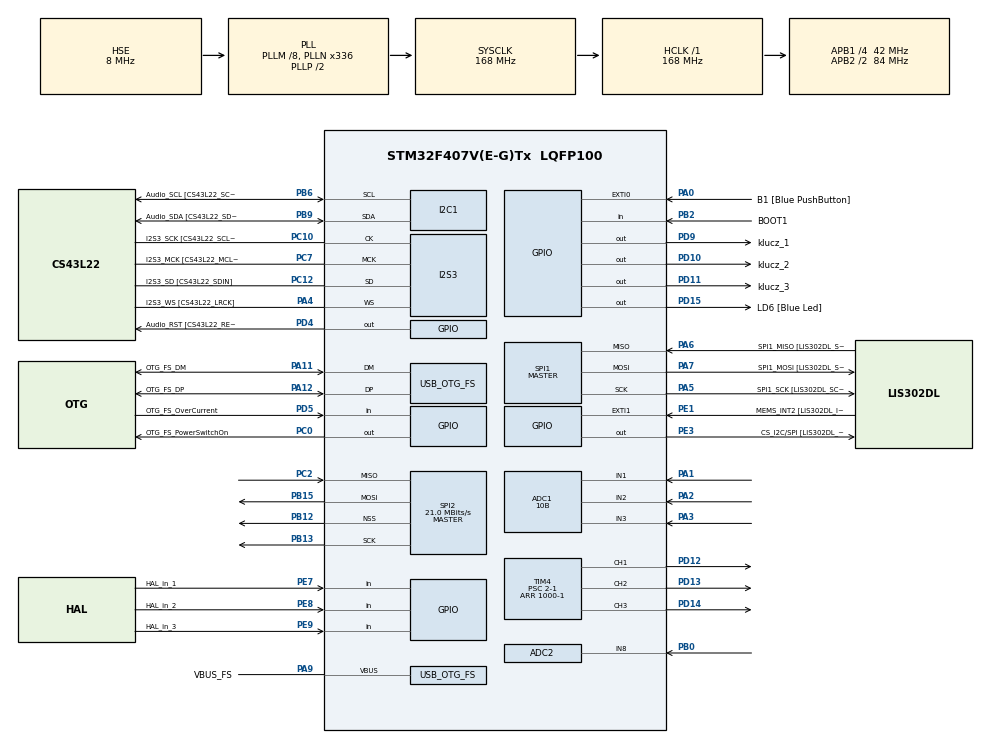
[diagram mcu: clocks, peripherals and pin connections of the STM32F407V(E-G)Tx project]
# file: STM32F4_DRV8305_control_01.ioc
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ADC1.Channel-0\#ChannelRegularConversion=ADC_CHANNEL_1
ADC1.Channel-1\#ChannelRegularConversion=ADC_CHANNEL_2
ADC1.Channel-2\#ChannelRegularConversion=ADC_CHANNEL_3
ADC1.ContinuousConvMode=ENABLE
ADC1.DMAContinuousRequests=DISABLE
ADC1.DataAlign=ADC_DATAALIGN_RIGHT
ADC1.DiscontinuousConvMode=DISABLE
ADC1.EOCSelection=ADC_EOC_SINGLE_CONV
ADC1.EnableAnalogWatchDog=false
ADC1.ExternalTrigConv=ADC_SOFTWARE_START
ADC1.ExternalTrigConvEdge=ADC_EXTERNALTRIGCONVEDGE_NONE
ADC1.InjNumberOfConversion=0
ADC1.NbrOfConversion=3
ADC1.NbrOfConversionFlag=1
ADC1.Rank-0\#ChannelRegularConversion=1
ADC1.Rank-1\#ChannelRegularConversion=2
ADC1.Rank-2\#ChannelRegularConversion=3
ADC1.Resolution=ADC_RESOLUTION_10B
ADC1.SamplingTime-0\#ChannelRegularConversion=ADC_SAMPLETIME_480CYCLES
ADC1.SamplingTime-1\#ChannelRegularConversion=ADC_SAMPLETIME_480CYCLES
ADC1.SamplingTime-2\#ChannelRegularConversion=ADC_SAMPLETIME_480CYCLES
ADC1.ScanConvMode=ENABLE
ADC1.master=1
ADC2.Channel-4\#ChannelRegularConversion=ADC_CHANNEL_8
ADC2.ClockPrescaler=ADC_CLOCK_SYNC_PCLK_DIV4
ADC2.NbrOfConversionFlag=1
ADC2.Rank-4\#ChannelRegularConversion=1
ADC2.Resolution=ADC_RESOLUTION_10B
ADC2.SamplingTime-4\#ChannelRegularConversion=ADC_SAMPLETIME_3CYCLES
I2S3.AudioFreq-Half_Duplex_Master=I2S_AUDIOFREQ_96K
I2S3.ErrorAudioFreq=-2.34 %
I2S3.ErrorAudioFreq-Half_Duplex_Master=0.8 %
I2S3.FullDuplexMode=I2S_FULLDUPLEXMODE_DISABLE
I2S3.Instance=SPI$Index
I2S3.RealAudioFreq=93.75 KHz
I2S3.RealAudioFreq-Half_Duplex_Master=96.774 KHz
I2S3.VirtualMode=I2S_MODE_MASTER
Mcu.Family=STM32F4
Mcu.Name=STM32F407V(E-G)Tx
Mcu.Package=LQFP100
NVIC.OTG_FS_IRQn=true\:0\:0\:false\:false\:true\:true
NVIC.PriorityGroup=NVIC_PRIORITYGROUP_0
NVIC.TIM1_UP_TIM10_IRQn=true\:0\:0\:false\:false\:true\:true
NVIC.TIM7_IRQn=true\:0\:0\:false\:false\:true\:true
PA0-WKUP.GPIO_Label=B1 [Blue PushButton]
PA0-WKUP.GPIO_ModeDefaultEXTI=GPIO_MODE_EVT_RISING
PA0-WKUP.GPIO_PuPd=GPIO_NOPULL
PA0-WKUP.Signal=GPXTI0
PA1.Signal=ADCx_IN1
PA10.GPIO_Label=OTG_FS_ID
PA10.GPIO_Mode=GPIO_MODE_AF_PP
PA10.GPIO_PuPd=GPIO_NOPULL
PA10.GPIO_Speed=GPIO_SPEED_FREQ_LOW
PA10.Signal=USB_OTG_FS_ID
PA11.GPIO_Label=OTG_FS_DM
PA11.GPIO_Mode=GPIO_MODE_AF_PP
PA11.GPIO_PuPd=GPIO_NOPULL
PA11.GPIO_Speed=GPIO_SPEED_FREQ_LOW
PA11.Mode=Host_Only
PA11.Signal=USB_OTG_FS_DM
PA12.GPIO_Label=OTG_FS_DP
PA12.GPIO_Mode=GPIO_MODE_AF_PP
PA12.GPIO_PuPd=GPIO_NOPULL
PA12.GPIO_Speed=GPIO_SPEED_FREQ_LOW
PA12.Mode=Host_Only
PA12.Signal=USB_OTG_FS_DP
PA13.GPIO_Label=SWDIO
PA13.Mode=Serial_Wire
PA13.Signal=SYS_JTMS-SWDIO
PA14.GPIO_Label=SWCLK
PA14.Mode=Serial_Wire
PA14.Signal=SYS_JTCK-SWCLK
PA2.Signal=ADCx_IN2
PA3.Signal=ADCx_IN3
PA4.GPIO_Label=I2S3_WS [CS43L22_LRCK]
PA4.GPIO_Mode=GPIO_MODE_AF_PP
PA4.GPIO_PuPd=GPIO_NOPULL
PA4.GPIO_Speed=GPIO_SPEED_FREQ_LOW
PA4.Mode=Half_Duplex_Master
PA4.Signal=I2S3_WS
PA5.GPIO_Label=SPI1_SCK [LIS302DL_SCL/SPC]
PA5.GPIO_Mode=GPIO_MODE_AF_PP
PA5.GPIO_PuPd=GPIO_NOPULL
PA5.GPIO_Speed=GPIO_SPEED_FREQ_LOW
PA5.Mode=Full_Duplex_Master
PA5.Signal=SPI1_SCK
PA6.GPIO_Label=SPI1_MISO [LIS302DL_SDO]
PA6.GPIO_Mode=GPIO_MODE_AF_PP
PA6.GPIO_PuPd=GPIO_NOPULL
PA6.GPIO_Speed=GPIO_SPEED_FREQ_LOW
PA6.Mode=Full_Duplex_Master
PA6.Signal=SPI1_MISO
PA7.GPIO_Label=SPI1_MOSI [LIS302DL_SDA/SDI/SDO]
PA7.GPIO_Mode=GPIO_MODE_AF_PP
PA7.GPIO_PuPd=GPIO_NOPULL
PA7.GPIO_Speed=GPIO_SPEED_FREQ_LOW
PA7.Mode=Full_Duplex_Master
PA7.Signal=SPI1_MOSI
PA9.GPIO_Label=VBUS_FS
PA9.GPIO_Mode=GPIO_MODE_INPUT
PA9.GPIO_PuPd=GPIO_NOPULL
PA9.Mode=Activate_VBUS
PA9.Signal=USB_OTG_FS_VBUS
PB0.Signal=ADCx_IN8
PB10.GPIO_Label=CLK_IN [MP45DT02_CLK]
PB10.GPIO_Mode=GPIO_MODE_AF_PP
PB10.GPIO_PuPd=GPIO_NOPULL
PB10.GPIO_Speed=GPIO_SPEED_FREQ_LOW
PB10.Signal=I2S2_CK
PB12.Mode=NSS_Signal_Hard_Output
PB12.Signal=SPI2_NSS
PB13.Mode=Full_Duplex_Master
PB13.Signal=SPI2_SCK
PB15.Mode=Full_Duplex_Master
PB15.Signal=SPI2_MOSI
PB2.GPIO_Label=BOOT1
PB2.GPIO_Mode=GPIO_MODE_INPUT
PB2.GPIO_PuPd=GPIO_NOPULL
PB2.Signal=GPIO_Input
PB3.GPIO_Label=SWO
PB3.Signal=SYS_JTDO-SWO
PB6.GPIO_Label=Audio_SCL [CS43L22_SCL]
PB6.GPIO_Mode=GPIO_MODE_AF_OD
PB6.GPIO_PuPd=GPIO_NOPULL
PB6.GPIO_Speed=GPIO_SPEED_FREQ_LOW
PB6.Mode=I2C
PB6.Signal=I2C1_SCL
PB9.GPIO_Label=Audio_SDA [CS43L22_SDA]
PB9.GPIO_Mode=GPIO_MODE_AF_OD
PB9.GPIO_PuPd=GPIO_NOPULL
PB9.GPIO_Speed=GPIO_SPEED_FREQ_LOW
PB9.Mode=I2C
PB9.Signal=I2C1_SDA
PC0.GPIO_Label=OTG_FS_PowerSwitchOn
PC0.GPIO_PuPd=GPIO_NOPULL
PC0.GPIO_Speed=GPIO_SPEED_FREQ_LOW
PC0.PinState=GPIO_PIN_SET
PC0.Signal=GPIO_Output
PC10.GPIO_Label=I2S3_SCK [CS43L22_SCLK]
PC10.GPIO_Mode=GPIO_MODE_AF_PP
PC10.GPIO_PuPd=GPIO_NOPULL
PC10.GPIO_Speed=GPIO_SPEED_FREQ_LOW
PC10.Mode=Half_Duplex_Master
PC10.Signal=I2S3_CK
PC12.GPIO_Label=I2S3_SD [CS43L22_SDIN]
PC12.GPIO_Mode=GPIO_MODE_AF_PP
PC12.GPIO_PuPd=GPIO_NOPULL
PC12.GPIO_Speed=GPIO_SPEED_FREQ_LOW
PC12.Mode=Half_Duplex_Master
PC12.Signal=I2S3_SD
PC14-OSC32_IN.GPIO_Label=PC14-OSC32_IN
PC14-OSC32_IN.Mode=LSE-External-Oscillator
PC14-OSC32_IN.Signal=RCC_OSC32_IN
PC15-OSC32_OUT.GPIO_Label=PC15-OSC32_OUT
PC15-OSC32_OUT.Mode=LSE-External-Oscillator
PC15-OSC32_OUT.Signal=RCC_OSC32_OUT
PC2.Mode=Full_Duplex_Master
PC2.Signal=SPI2_MISO
PC3.GPIO_Label=PDM_OUT [MP45DT02_DOUT]
PC3.GPIO_Mode=GPIO_MODE_AF_PP
PC3.GPIO_PuPd=GPIO_NOPULL
PC3.GPIO_Speed=GPIO_SPEED_FREQ_LOW
PC3.Signal=I2S2_SD
PC7.GPIO_Label=I2S3_MCK [CS43L22_MCLK]
PC7.GPIO_Mode=GPIO_MODE_AF_PP
PC7.GPIO_PuPd=GPIO_NOPULL
PC7.GPIO_Speed=GPIO_SPEED_FREQ_LOW
PC7.Mode=Master_Clock_Activated
PC7.Signal=I2S3_MCK
PD10.GPIO_Label=klucz_2
PD10.Signal=GPIO_Output
PD11.GPIO_Label=klucz_3
PD11.Signal=GPIO_Output
PD12.Signal=S_TIM4_CH1
PD13.Signal=S_TIM4_CH2
PD14.Signal=S_TIM4_CH3
PD15.GPIO_Label=LD6 [Blue Led]
PD15.GPIO_PuPd=GPIO_NOPULL
PD15.GPIO_Speed=GPIO_SPEED_FREQ_LOW
PD15.Signal=GPIO_Output
PD4.GPIO_Label=Audio_RST [CS43L22_RESET]
PD4.GPIO_PuPd=GPIO_NOPULL
PD4.GPIO_Speed=GPIO_SPEED_FREQ_LOW
PD4.Signal=GPIO_Output
PD5.GPIO_Label=OTG_FS_OverCurrent
PD5.GPIO_Mode=GPIO_MODE_INPUT
PD5.GPIO_PuPd=GPIO_NOPULL
PD5.Signal=GPIO_Input
PD9.GPIO_Label=klucz_1
PD9.Signal=GPIO_Output
PE1.GPIO_Label=MEMS_INT2 [LIS302DL_INT2]
PE1.GPIO_ModeDefaultEXTI=GPIO_MODE_EVT_RISING
PE1.GPIO_PuPd=GPIO_NOPULL
PE1.Signal=GPXTI1
PE3.GPIO_Label=CS_I2C/SPI [LIS302DL_CS_I2C/SPI]
PE3.GPIO_PuPd=GPIO_NOPULL
PE3.GPIO_Speed=GPIO_SPEED_FREQ_LOW
PE3.Signal=GPIO_Output
PE7.GPIO_Label=HAL_in_1
PE7.GPIO_PuPd=GPIO_PULLUP
PE7.Signal=GPIO_Input
PE8.GPIO_Label=HAL_in_2
PE8.GPIO_PuPd=GPIO_PULLUP
PE8.Signal=GPIO_Input
PE9.GPIO_Label=HAL_in_3
PE9.GPIO_PuPd=GPIO_PULLUP
PE9.Signal=GPIO_Input
PH0-OSC_IN.GPIO_Label=PH0-OSC_IN
PH0-OSC_IN.Mode=HSE-External-Oscillator
PH0-OSC_IN.Signal=RCC_OSC_IN
PH1-OSC_OUT.GPIO_Label=PH1-OSC_OUT
PH1-OSC_OUT.Mode=HSE-External-Oscillator
PH1-OSC_OUT.Signal=RCC_OSC_OUT
ProjectManager.HeapSize=0x200
ProjectManager.StackSize=0x400
ProjectManager.TargetToolchain=TrueSTUDIO
RCC.48MHZClocksFreq_Value=48000000
RCC.AHBFreq_Value=168000000
RCC.APB1CLKDivider=RCC_HCLK_DIV4
RCC.APB1Freq_Value=42000000
RCC.APB1TimFreq_Value=84000000
RCC.APB2CLKDivider=RCC_HCLK_DIV2
RCC.APB2Freq_Value=84000000
RCC.APB2TimFreq_Value=168000000
RCC.CortexFreq_Value=168000000
RCC.HCLKFreq_Value=168000000
RCC.HSE_VALUE=8000000
RCC.HSI_VALUE=16000000
RCC.PLLM=8
RCC.PLLN=336
RCC.PLLQ=7
RCC.SYSCLKFreq_VALUE=168000000
RCC.SYSCLKSource=RCC_SYSCLKSOURCE_PLLCLK
RCC.VCOOutputFreq_Value=336000000
SH.ADCx_IN1.0=ADC1_IN1,IN1
SH.ADCx_IN1.1=ADC2_IN1
SH.ADCx_IN2.0=ADC1_IN2,IN2
SH.ADCx_IN3.0=ADC1_IN3,IN3
SH.ADCx_IN8.0=ADC2_IN8,IN8
SH.S_TIM4_CH1.0=TIM4_CH1,PWM Generation1 CH1
SH.S_TIM4_CH2.0=TIM4_CH2,PWM Generation2 CH2
SH.S_TIM4_CH3.0=TIM4_CH3,PWM Generation3 CH3
SPI1.BaudRatePrescaler-Full_Duplex_Master=SPI_BAUDRATEPRESCALER_2
SPI1.CalculateBaudRate-Full_Duplex_Master=42.0 MBits/s
SPI1.Direction=SPI_DIRECTION_2LINES
SPI1.Mode=SPI_MODE_MASTER
SPI1.Mode-Full_Duplex_Master=SPI_MODE_MASTER
SPI1.VirtualType=VM_MASTER
SPI2.BaudRatePrescaler=SPI_BAUDRATEPRESCALER_2
SPI2.CalculateBaudRate=21.0 MBits/s
SPI2.DataSize=SPI_DATASIZE_16BIT
SPI2.Direction=SPI_DIRECTION_2LINES
SPI2.Mode=SPI_MODE_MASTER
SPI2.VirtualNSS=VM_NSSHARD
SPI2.VirtualType=VM_MASTER
TIM10.Period=1000-1
TIM10.Prescaler=2-1
TIM4.Channel-PWM\ Generation1\ CH1=TIM_CHANNEL_1
TIM4.Channel-PWM\ Generation2\ CH2=TIM_CHANNEL_2
TIM4.Channel-PWM\ Generation3\ CH3=TIM_CHANNEL_3
TIM4.CounterMode=TIM_COUNTERMODE_UP
TIM4.Period=1000-1
TIM4.Prescaler=2-1
TIM7.Period=5000-1
TIM7.Prescaler=8400-1
USB_HOST.BSP.number=1
USB_HOST.USBH_HandleTypeDef-CDC_FS=hUsbHostFS
USB_HOST.VirtualModeFS=Cdc
USB_HOST0.BSP.STBoard=false
USB_HOST0.BSP.api=Unknown
USB_HOST0.BSP.i2caddr=0
USB_HOST0.BSP.i2creg=0
USB_HOST0.BSP.instance=PC0
USB_HOST0.BSP.ip=GPIO
USB_HOST0.BSP.mode=Output
USB_HOST0.BSP.name=Drive_VBUS_FS
USB_HOST0.BSP.solution=PC0
USB_OTG_FS.VirtualMode=Host_Only
USB_OTG_FS.phy_itface=HCD_PHY_EMBEDDED
VP_TIM10_VS_ClockSourceINT.Mode=Enable_Timer
VP_TIM7_VS_ClockSourceINT.Mode=Enable_Timer
VP_USB_HOST_VS_USB_HOST_CDC_FS.Mode=CDC_FS
board=STM32F4DISCOVERY

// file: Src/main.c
/**
  ******************************************************************************
  * @file           : main.c
  * @brief          : Main program body
  ******************************************************************************
  * This notice applies to any and all portions of this file
  * that are not between comment pairs USER CODE BEGIN and
  * USER CODE END. Other portions of this file, whether
  * inserted by the user or by software development tools
  * are owned by their respective copyright owners.
  *
  * Copyright (c) 2018 STMicroelectronics International N.V.
  * All rights reserved.
  *
  * Redistribution and use in source and binary forms, with or without
  * modification, are permitted, provided that the following conditions are met:
  *
  * 1. Redistribution of source code must retain the above copyright notice,
  *    this list of conditions and the following disclaimer.
  * 2. Redistributions in binary form must reproduce the above copyright notice,
  *    this list of conditions and the following disclaimer in the documentation
  *    and/or other materials provided with the distribution.
  * 3. Neither the name of STMicroelectronics nor the names of other
  *    contributors to this software may be used to endorse or promote products
  *    derived from this software without specific written permission.
  * 4. This software, including modifications and/or derivative works of this
  *    software, must execute solely and exclusively on microcontroller or
  *    microprocessor devices manufactured by or for STMicroelectronics.
  * 5. Redistribution and use of this software other than as permitted under
  *    this license is void and will automatically terminate your rights under
  *    this license.
  *
  * THIS SOFTWARE IS PROVIDED BY STMICROELECTRONICS AND CONTRIBUTORS "AS IS"
  * AND ANY EXPRESS, IMPLIED OR STATUTORY WARRANTIES, INCLUDING, BUT NOT
  * LIMITED TO, THE IMPLIED WARRANTIES OF MERCHANTABILITY, FITNESS FOR A
  * PARTICULAR PURPOSE AND NON-INFRINGEMENT OF THIRD PARTY INTELLECTUAL PROPERTY
  * RIGHTS ARE DISCLAIMED TO THE FULLEST EXTENT PERMITTED BY LAW. IN NO EVENT
  * SHALL STMICROELECTRONICS OR CONTRIBUTORS BE LIABLE FOR ANY DIRECT, INDIRECT,
  * INCIDENTAL, SPECIAL, EXEMPLARY, OR CONSEQUENTIAL DAMAGES (INCLUDING, BUT NOT
  * LIMITED TO, PROCUREMENT OF SUBSTITUTE GOODS OR SERVICES; LOSS OF USE, DATA,
  * OR PROFITS; OR BUSINESS INTERRUPTION) HOWEVER CAUSED AND ON ANY THEORY OF
  * LIABILITY, WHETHER IN CONTRACT, STRICT LIABILITY, OR TORT (INCLUDING
  * NEGLIGENCE OR OTHERWISE) ARISING IN ANY WAY OUT OF THE USE OF THIS SOFTWARE,
  * EVEN IF ADVISED OF THE POSSIBILITY OF SUCH DAMAGE.
  *
  ******************************************************************************
  */
#include "main.h"
#include "stm32f4xx_hal.h"
#include "usb_host.h"

/* USER CODE BEGIN Includes */

// odczyt rejestrow
#define DRV8305_WARNING_REG_READ 		0x8800
#define DRV8305_OVVDS_REG_READ			0x9000
#define DRV8305_PWM_MODE_3_WRITE		0x3A96
#define DRV8305_GATE_DRIVE_REG_READ		0xBA16

// bity flag zabezp. pradowych (bity 10:0 w rejestrze OVVDS )
#define DRV8305_OVERCURRENT_FAULT_A	 	0x4
#define DRV8305_OVERCURRENT_FAULT_B	 	0x2
#define DRV8305_OVERCURRENT_FAULT_C	 	0x1

#define SINK_RESISTOR 5	// [mOhm]
#define PWM_PERIOD 800
/* USER CODE END Includes */

ADC_HandleTypeDef hadc1;
ADC_HandleTypeDef hadc2;

I2C_HandleTypeDef hi2c1;

I2S_HandleTypeDef hi2s3;

SPI_HandleTypeDef hspi1;
SPI_HandleTypeDef hspi2;

TIM_HandleTypeDef htim4;
TIM_HandleTypeDef htim7;
TIM_HandleTypeDef htim10;

/* USER CODE BEGIN PV */
/* Private variables ---------------------------------------------------------*/

//--- dane z rejestrow DRV8305 //--
uint16_t _Gate_Drive_Reg = 0;
uint16_t _Warning_Reg = 0;
uint16_t _OVVDS_Reg = 0;
uint16_t odp = 0;						// test komunikacji SPI2
uint8_t _Overcurrent_Sense_Flag = 0;	// odczyt flag przeciazenia pradowego
//---------------------------------

//--- odczyt czujnikow / pomiary //
int _Vsense_Read_A = 0;			// pomiary napiecia na rezystorach VDS
int _Vsense_Read_B = 0;			//
int _Vsense_Read_C = 0;			//
uint16_t _ADC_Joy_Read = 0;		// pomiar ADC joysticka
uint8_t _HAL_Sense_Flag = 0;	// odczyt czujnikow HALLa
//---------------------------------

//----konfiguracja ADC //----------
const float _ADC_Resolution = 4095.0;		// rozdzielczosc ADC
const float _Supply_Voltage = 3300;		// [mVolts]
//---------------------------------

unsigned int _PWM_Duty = 0;					// wypelnienie w procentach

// tablica 6 krokow BLDC (obrot w lewo)- 4 elementy: 1 - HALL binary(H1 = 0) 2,3,4 - fazy A,B,C [0 - n.c., 1 - lower, 2 - upper]
int _BLDC_Steps_Left[6][4] = {{5,0,1,2},	// step 1
							{1,2,1,0},		// step 2
							{3,2,0,1},		// step 3
							{2,0,2,1},		// step 4
							{6,1,2,0},		// step 5
							{4,1,0,2}};		// step 6

// tablica 6 krokow BLDC (obrot w prawo) - 4 elementy: 1 - HALL binary(H1 = 0) 2,3,4 - fazy A,B,C [0 - n.c., 1 - lower, 2 - upper]
int _BLDC_Steps_Right[6][4] = {{5,0,2,1},	// step 6
							 {1,1,2,0},		// step 5
							 {3,1,0,2},		// step 4
							 {2,0,1,2},		// step 3
							 {6,2,1,0},		// step 2
							 {4,2,0,1}};	// step 1

// ------- regulator PI -----------
double 		KU = 0,		// wzmocnienie, przy ktorym pojawiaja sie oscylacje
			PU = 0,			// okres oscylacji
			czas_iteracji = 1;	// ???

double		KP = 0,
			KI = 0;

int 		uchyb = 0,
			prog_napiecia = 1300,	// [mV]
			integrator = 0;
//---------------------------------

//uint16_t _ADC_Vsense_Read_A = 0;		// pomiary ADC rezystorow przeciazenia pradowego
//uint16_t _ADC_Vsense_Read_B = 0;		//
//uint16_t _ADC_Vsense_Read_C = 0;		//
unsigned int _VOL_A = 0;
unsigned int _PI_Test = 0;
unsigned int _Uchyb_Test = 0;
/* USER CODE END PV */

void SystemClock_Config(void);
static void MX_GPIO_Init(void);
static void MX_I2C1_Init(void);
static void MX_I2S3_Init(void);
static void MX_SPI1_Init(void);
static void MX_ADC1_Init(void);
static void MX_TIM10_Init(void);
static void MX_TIM7_Init(void);
static void MX_SPI2_Init(void);
static void MX_TIM4_Init(void);
static void MX_ADC2_Init(void);
void MX_USB_HOST_Process(void);

void HAL_TIM_MspPostInit(TIM_HandleTypeDef *htim);

/* USER CODE BEGIN PFP */
/* Private function prototypes -----------------------------------------------*/

/* USER CODE END PFP */

/* USER CODE BEGIN 0 */

void Set_Key(int key,int state)				// sterowanie gornymi kluczami falownika; key - numer klucza (1-3), state - stan (1/0)
{
	switch (key)
	{
	case 1:
		if(state)	HAL_GPIO_WritePin(GPIOD,GPIO_PIN_9,GPIO_PIN_SET);
		else		HAL_GPIO_WritePin(GPIOD,GPIO_PIN_9,GPIO_PIN_RESET);
	break;

	case 2:
		if(state)	HAL_GPIO_WritePin(GPIOD,GPIO_PIN_10,GPIO_PIN_SET);
		else		HAL_GPIO_WritePin(GPIOD,GPIO_PIN_10,GPIO_PIN_RESET);
	break;

	case 3:
		if(state)	HAL_GPIO_WritePin(GPIOD,GPIO_PIN_11,GPIO_PIN_SET);
		else		HAL_GPIO_WritePin(GPIOD,GPIO_PIN_11,GPIO_PIN_RESET);
	break;
	}
}

void PWM_SetValue( int channel, int duty_perc)		// ustawienie wypelnienia PWM, channel - kanal PWM (1,2,3), duty_perc - wypelnienie w procentach(1-100)
{
	int value = duty_perc*PWM_PERIOD/100;			// value - wartosc wypelnienia (0 - 1000)

    switch (channel)
    {
    case 1:
    	__HAL_TIM_SET_COMPARE(&htim4, TIM_CHANNEL_1, value);	// uaktualnienie wartosci wypelnienia
	break;

    case 2:
    	__HAL_TIM_SET_COMPARE(&htim4, TIM_CHANNEL_2, value);
    break;

    case 3:
    	__HAL_TIM_SET_COMPARE(&htim4, TIM_CHANNEL_3, value);
    break;
    }
}

uint16_t SPI2_SendRec(uint16_t data) {							// wysyla i pobiera dane po SPI 2
	uint8_t answer;												// data - dane do wyslania 16 bit
																// answer - odpowiedz urzadzenia 16 bit
	HAL_GPIO_WritePin(GPIOB,GPIO_PIN_12,GPIO_PIN_RESET);

	HAL_SPI_TransmitReceive(&hspi2, (uint8_t*)&data, &answer, 1, HAL_MAX_DELAY);		// arg1 - struktura init
																						// arg2 - dane do wyslania (jawne rzutowanie na 8 bitow)
	HAL_GPIO_WritePin(GPIOB,GPIO_PIN_12,GPIO_PIN_SET);									// arg3 - dane zwrotne
	return answer;																		// arg4 - rozmiar bufora
																						// arg5 - maksymalny czas komunikacji
}

void DRV8305_Init()			// wysyla konfiguracje sterownika DRV8305
{
	_Gate_Drive_Reg = SPI2_SendRec(DRV8305_PWM_MODE_3_WRITE);
	//HAL_Delay(1000);
	//_Gate_Drive_Reg = SPI2_SendRec(DRV8305_GATE_DRIVE_REG_READ);
	//_Warning_Reg = SPI2_SendRec(DRV8305_WARNING_REG_READ);
	//_OVVDS_Reg = SPI2_SendRec(DRV8305_OVVDS_REG_READ);
}

void ADC_VSense_Read()		// odczytuje ADC Vsense i zapisuje do globalnych zmiennych
{
	HAL_ADC_Start(&hadc1);

		HAL_ADC_PollForConversion(&hadc1,10);
		_Vsense_Read_A = (_Supply_Voltage/(_ADC_Resolution/4)) * HAL_ADC_GetValue(&hadc1);

		HAL_ADC_PollForConversion(&hadc1,10);
		_Vsense_Read_B = (_Supply_Voltage/(_ADC_Resolution/4)) * HAL_ADC_GetValue(&hadc1);

		HAL_ADC_PollForConversion(&hadc1,10);
		_Vsense_Read_C = (_Supply_Voltage/(_ADC_Resolution/4)) * HAL_ADC_GetValue(&hadc1);

	HAL_ADC_Stop(&hadc1);
}

void ADC_Joy_Read()			// odczytuje ADC joystick i zapisuje do globalnej zmiennej
{
	if (HAL_ADC_PollForConversion(&hadc2, 10) == HAL_OK)
	{
		HAL_ADC_Start(&hadc2);
		_ADC_Joy_Read = HAL_ADC_GetValue(&hadc2);
		HAL_ADC_Start(&hadc2);
	}
}

uint8_t DRV8305_Overcurrent_Sense ()		// odczytuje rejestr OV/VDS, zwraca 8 bitow, z czego 0,1,2 to kolejno flagi A,B,C
{
	uint16_t aux_read = SPI2_SendRec(DRV8305_OVVDS_REG_READ);
	uint8_t Sense_ABC_flags = 0;

	if((aux_read & DRV8305_OVERCURRENT_FAULT_A) == DRV8305_OVERCURRENT_FAULT_A)
		Sense_ABC_flags = Sense_ABC_flags | 0x1;

	if((aux_read & DRV8305_OVERCURRENT_FAULT_B) == DRV8305_OVERCURRENT_FAULT_B)
		Sense_ABC_flags = Sense_ABC_flags | 0x2;

	if((aux_read & DRV8305_OVERCURRENT_FAULT_C) == DRV8305_OVERCURRENT_FAULT_C)
		Sense_ABC_flags = Sense_ABC_flags | 0x4;

	return Sense_ABC_flags;
}

uint8_t HAL_Sense ()			// odczytuje stan czujnikow HALLA, zwraca 8 bitow, z czego 0,1,2 to kolejno HAL_1, HAL_2, HAL_3
{
	uint8_t aux_flag = 0;

	if(HAL_GPIO_ReadPin(GPIOE,GPIO_PIN_7)) 		// HAL_1
			aux_flag |= 0x1;
	else	aux_flag &= ~0x1;

	if(HAL_GPIO_ReadPin(GPIOE,GPIO_PIN_8)) 		// HAL_2
			aux_flag |= 0x2;
	else	aux_flag &= ~0x2;

	if(HAL_GPIO_ReadPin(GPIOE,GPIO_PIN_9)) 		// HAL_3
			aux_flag |= 0x4;
	else	aux_flag &= ~0x4;

	return aux_flag;
}

unsigned int  Regulacja_PI()
{
	KU = 0.35;
	PU = 0.1;

	KP = 0.6*KU;	// wartosci wzmocnien wedlug metody zieglera-nicholsa
	KI = 2*KP/PU;	//

	unsigned int output = 0;

	if(_Vsense_Read_A <= prog_napiecia
	|| _Vsense_Read_B <= prog_napiecia
	|| _Vsense_Read_C <= prog_napiecia)
	{
		uchyb = prog_napiecia - _Vsense_Read_A;

		integrator = 0;
		//integrator += uchyb*czas_iteracji;
		if(integrator > 1)	integrator = 1;

		output = KP*uchyb + KI*integrator;

		if(output > 98)	output = 98;
		if(output < 0)	output = 0;

		return output;
	}
	else
	{
		uchyb = 0;
		return 0;
	}
}

void Rotate()		// steruje kluczami wedlug odczytu HALLow
{
	uint8_t aux_hall = _HAL_Sense_Flag;

	if(_ADC_Joy_Read >= 500)		// obrot w lewo
	{
		for(int i = 0; i < 6; i++)						// iteracja po kolejnych stopniach obrotu
		{
			if(_BLDC_Steps_Left[i][0] == aux_hall)		// porownanie odczytu HALLow z tablica
			{
				for(int j = 1; j<4; j++)				// iteracja po fazach A B C
				{
					if(_BLDC_Steps_Left[i][j] == 0)
					{
						Set_Key(j,0);				// wylaczenie gornego klucza
						PWM_SetValue(j,0);			// wylaczenie PWM
					}
					else if(_BLDC_Steps_Left[i][j] == 1)
					{
						Set_Key(j,0);				// wylaczenie gornego klucza
						PWM_SetValue(j,_PWM_Duty);	// wlaczenie PWM
					}
					else if(_BLDC_Steps_Left[i][j] == 2)
					{
						Set_Key(j,1);				// wlaczenie gornego klucza
						PWM_SetValue(j,0);			// wylaczenie PWM
					}
				}
			}
		}
	}
	else if(_ADC_Joy_Read <= 470)		// obrot w prawo
	{
		for(int i = 0; i < 6; i++)						// iteracja po kolejnych stopniach obrotu
		{
			if(_BLDC_Steps_Right[i][0] == aux_hall)		// porownanie odczytu HALLow z tablica
			{
				for(int j = 1; j<4; j++)				// iteracja po fazach A B C
				{
					if(_BLDC_Steps_Right[i][j] == 0)
					{
						Set_Key(j,0);				// wylaczenie gornego klucza
						PWM_SetValue(j,0);			// wylaczenie PWM
					}
					else if(_BLDC_Steps_Right[i][j] == 1)
					{
						Set_Key(j,0);				// wylaczenie gornego klucza
						PWM_SetValue(j,_PWM_Duty);	// wlaczenie PWM
					}
					else if(_BLDC_Steps_Right[i][j] == 2)
					{
						Set_Key(j,1);				// wlaczenie gornego klucza
						PWM_SetValue(j,0);			// wylaczenie PWM
					}
				}
			}
		}
	}
	else
	{
		for(int j = 1; j<4; j++)		// iteracja po fazach A B C
		{
			Set_Key(j,0);				// wylaczenie gornego klucza
			PWM_SetValue(j,0);			// wylaczenie PWM
		}

	}
}

void Check_And_Rotate()
{
	_PI_Test = Regulacja_PI();

	if(_ADC_Joy_Read < 485)				// wychylenie galki w dol
	_PWM_Duty = ((100 - (_ADC_Joy_Read)/5)) /*- _PI_Test*/;
	else								// wychylenie galki w gore
	_PWM_Duty = ((2*((_ADC_Joy_Read-(_ADC_Resolution/8))/(_ADC_Resolution/4))*100)) /*- _PI_Test*/;	// regulacja PWM na podstawie joysticka

	ADC_VSense_Read();					// pomiar pradu kluczy
	_HAL_Sense_Flag = HAL_Sense();		// odczyt HALL
	ADC_Joy_Read();						// odczyt adc_joystick
	Rotate();							// ustawienie PWM i kluczy - obrot
}

void HAL_TIM_PeriodElapsedCallback(TIM_HandleTypeDef *htim){	// funkcja operacji wykonywanych po zapelnieniu licznika

 if(htim->Instance == TIM7)
 {
	HAL_GPIO_TogglePin(GPIOD,GPIO_PIN_15);						// led blink
 }

 if(htim->Instance == TIM10)
  {

  }
}

/* USER CODE END 0 */

int main(void)
{	// -----------------------------MAIN-----------------------------------------

  /* MCU Configuration----------------------------------------------------------*/

  /* Reset of all peripherals, Initializes the Flash interface and the Systick. */
  HAL_Init();

  /* Configure the system clock */
  SystemClock_Config();

  /* Initialize all configured peripherals */
  MX_GPIO_Init();
  MX_I2C1_Init();
  MX_I2S3_Init();
  MX_SPI1_Init();
  MX_USB_HOST_Init();
  MX_ADC1_Init();
  MX_TIM10_Init();
  MX_TIM7_Init();
  MX_SPI2_Init();
  MX_TIM4_Init();
  MX_ADC2_Init();
  /* USER CODE BEGIN 2 */

  HAL_TIM_Base_Start_IT(&htim7);		// uruchomienie timera TIM7 	(blink LED)
  HAL_TIM_Base_Start_IT(&htim10);		// uruchomienie timera TIM10	(PWM control)

  HAL_TIM_PWM_Start(&htim4, TIM_CHANNEL_1);			// PWM start channel 1
  HAL_TIM_PWM_Start(&htim4, TIM_CHANNEL_2);			// PWM start channel 2
  HAL_TIM_PWM_Start(&htim4, TIM_CHANNEL_3);			// PWM start channel 3

  HAL_ADC_Start(&hadc1);				// uruchomienie konwersji ADC (PA1 ADC1_IN1)
  HAL_ADC_Start(&hadc2);

  //DRV8305_Init();		// konfiguracja ukladu DRV8305

  odp = SPI2_SendRec(0xBA16);		// SPI2 test

  //odp = SPI2_SendRec(0x8800);

  /* USER CODE END 2 */

  /* Infinite loop */
  /* USER CODE BEGIN WHILE */
  // ------------------------------------------WHILE-----------------------------------------------------------------------
  while (1)
  {
	//_Overcurrent_Sense_Flag = DRV8305_Overcurrent_Sense();		// odczyt flag zabezpieczen pradowych

	Check_And_Rotate();

  /* USER CODE END WHILE */
    MX_USB_HOST_Process();

  /* USER CODE BEGIN 3 */

  }
 // ------------------------------------------------------------------------------------------------------------------------
  /* USER CODE END 3 */

}

void SystemClock_Config(void)
{

  RCC_OscInitTypeDef RCC_OscInitStruct;
  RCC_ClkInitTypeDef RCC_ClkInitStruct;
  RCC_PeriphCLKInitTypeDef PeriphClkInitStruct;

    /**Configure the main internal regulator output voltage
    */
  __HAL_RCC_PWR_CLK_ENABLE();

  __HAL_PWR_VOLTAGESCALING_CONFIG(PWR_REGULATOR_VOLTAGE_SCALE1);

    /**Initializes the CPU, AHB and APB busses clocks
    */
  RCC_OscInitStruct.OscillatorType = RCC_OSCILLATORTYPE_HSE;
  RCC_OscInitStruct.HSEState = RCC_HSE_ON;
  RCC_OscInitStruct.PLL.PLLState = RCC_PLL_ON;
  RCC_OscInitStruct.PLL.PLLSource = RCC_PLLSOURCE_HSE;
  RCC_OscInitStruct.PLL.PLLM = 8;
  RCC_OscInitStruct.PLL.PLLN = 336;
  RCC_OscInitStruct.PLL.PLLP = RCC_PLLP_DIV2;
  RCC_OscInitStruct.PLL.PLLQ = 7;
  if (HAL_RCC_OscConfig(&RCC_OscInitStruct) != HAL_OK)
  {
    _Error_Handler(__FILE__, __LINE__);
  }

    /**Initializes the CPU, AHB and APB busses clocks
    */
  RCC_ClkInitStruct.ClockType = RCC_CLOCKTYPE_HCLK|RCC_CLOCKTYPE_SYSCLK
                              |RCC_CLOCKTYPE_PCLK1|RCC_CLOCKTYPE_PCLK2;
  RCC_ClkInitStruct.SYSCLKSource = RCC_SYSCLKSOURCE_PLLCLK;
  RCC_ClkInitStruct.AHBCLKDivider = RCC_SYSCLK_DIV1;
  RCC_ClkInitStruct.APB1CLKDivider = RCC_HCLK_DIV4;
  RCC_ClkInitStruct.APB2CLKDivider = RCC_HCLK_DIV2;

  if (HAL_RCC_ClockConfig(&RCC_ClkInitStruct, FLASH_LATENCY_5) != HAL_OK)
  {
    _Error_Handler(__FILE__, __LINE__);
  }

  PeriphClkInitStruct.PeriphClockSelection = RCC_PERIPHCLK_I2S;
  PeriphClkInitStruct.PLLI2S.PLLI2SN = 192;
  PeriphClkInitStruct.PLLI2S.PLLI2SR = 2;
  if (HAL_RCCEx_PeriphCLKConfig(&PeriphClkInitStruct) != HAL_OK)
  {
    _Error_Handler(__FILE__, __LINE__);
  }

    /**Configure the Systick interrupt time
    */
  HAL_SYSTICK_Config(HAL_RCC_GetHCLKFreq()/1000);

    /**Configure the Systick
    */
  HAL_SYSTICK_CLKSourceConfig(SYSTICK_CLKSOURCE_HCLK);

  /* SysTick_IRQn interrupt configuration */
  HAL_NVIC_SetPriority(SysTick_IRQn, 0, 0);
}

/* ADC1 init function */
static void MX_ADC1_Init(void)
{

  ADC_ChannelConfTypeDef sConfig;

    /**Configure the global features of the ADC (Clock, Resolution, Data Alignment and number of conversion)
    */
  hadc1.Instance = ADC1;
  hadc1.Init.ClockPrescaler = ADC_CLOCK_SYNC_PCLK_DIV4;
  hadc1.Init.Resolution = ADC_RESOLUTION_10B;
  hadc1.Init.ScanConvMode = ENABLE;
  hadc1.Init.ContinuousConvMode = ENABLE;
  hadc1.Init.DiscontinuousConvMode = DISABLE;
  hadc1.Init.ExternalTrigConvEdge = ADC_EXTERNALTRIGCONVEDGE_NONE;
  hadc1.Init.ExternalTrigConv = ADC_SOFTWARE_START;
  hadc1.Init.DataAlign = ADC_DATAALIGN_RIGHT;
  hadc1.Init.NbrOfConversion = 3;
  hadc1.Init.DMAContinuousRequests = DISABLE;
  hadc1.Init.EOCSelection = ADC_EOC_SINGLE_CONV;
  if (HAL_ADC_Init(&hadc1) != HAL_OK)
  {
    _Error_Handler(__FILE__, __LINE__);
  }

    /**Configure for the selected ADC regular channel its corresponding rank in the sequencer and its sample time.
    */
  sConfig.Channel = ADC_CHANNEL_1;
  sConfig.Rank = 1;
  sConfig.SamplingTime = ADC_SAMPLETIME_480CYCLES;
  if (HAL_ADC_ConfigChannel(&hadc1, &sConfig) != HAL_OK)
  {
    _Error_Handler(__FILE__, __LINE__);
  }

    /**Configure for the selected ADC regular channel its corresponding rank in the sequencer and its sample time.
    */
  sConfig.Channel = ADC_CHANNEL_2;
  sConfig.Rank = 2;
  if (HAL_ADC_ConfigChannel(&hadc1, &sConfig) != HAL_OK)
  {
    _Error_Handler(__FILE__, __LINE__);
  }

    /**Configure for the selected ADC regular channel its corresponding rank in the sequencer and its sample time.
    */
  sConfig.Channel = ADC_CHANNEL_3;
  sConfig.Rank = 3;
  if (HAL_ADC_ConfigChannel(&hadc1, &sConfig) != HAL_OK)
  {
    _Error_Handler(__FILE__, __LINE__);
  }

}

/* ADC2 init function */
static void MX_ADC2_Init(void)
{

  ADC_ChannelConfTypeDef sConfig;

    /**Configure the global features of the ADC (Clock, Resolution, Data Alignment and number of conversion)
    */
  hadc2.Instance = ADC2;
  hadc2.Init.ClockPrescaler = ADC_CLOCK_SYNC_PCLK_DIV4;
  hadc2.Init.Resolution = ADC_RESOLUTION_10B;
  hadc2.Init.ScanConvMode = DISABLE;
  hadc2.Init.ContinuousConvMode = DISABLE;
  hadc2.Init.DiscontinuousConvMode = DISABLE;
  hadc2.Init.ExternalTrigConvEdge = ADC_EXTERNALTRIGCONVEDGE_NONE;
  hadc2.Init.ExternalTrigConv = ADC_SOFTWARE_START;
  hadc2.Init.DataAlign = ADC_DATAALIGN_RIGHT;
  hadc2.Init.NbrOfConversion = 1;
  hadc2.Init.DMAContinuousRequests = DISABLE;
  hadc2.Init.EOCSelection = ADC_EOC_SINGLE_CONV;
  if (HAL_ADC_Init(&hadc2) != HAL_OK)
  {
    _Error_Handler(__FILE__, __LINE__);
  }

    /**Configure for the selected ADC regular channel its corresponding rank in the sequencer and its sample time.
    */
  sConfig.Channel = ADC_CHANNEL_8;
  sConfig.Rank = 1;
  sConfig.SamplingTime = ADC_SAMPLETIME_3CYCLES;
  if (HAL_ADC_ConfigChannel(&hadc2, &sConfig) != HAL_OK)
  {
    _Error_Handler(__FILE__, __LINE__);
  }

}

/* I2C1 init function */
static void MX_I2C1_Init(void)
{

  hi2c1.Instance = I2C1;
  hi2c1.Init.ClockSpeed = 100000;
  hi2c1.Init.DutyCycle = I2C_DUTYCYCLE_2;
  hi2c1.Init.OwnAddress1 = 0;
  hi2c1.Init.AddressingMode = I2C_ADDRESSINGMODE_7BIT;
  hi2c1.Init.DualAddressMode = I2C_DUALADDRESS_DISABLE;
  hi2c1.Init.OwnAddress2 = 0;
  hi2c1.Init.GeneralCallMode = I2C_GENERALCALL_DISABLE;
  hi2c1.Init.NoStretchMode = I2C_NOSTRETCH_DISABLE;
  if (HAL_I2C_Init(&hi2c1) != HAL_OK)
  {
    _Error_Handler(__FILE__, __LINE__);
  }

}

/* I2S3 init function */
static void MX_I2S3_Init(void)
{

  hi2s3.Instance = SPI3;
  hi2s3.Init.Mode = I2S_MODE_MASTER_TX;
  hi2s3.Init.Standard = I2S_STANDARD_PHILIPS;
  hi2s3.Init.DataFormat = I2S_DATAFORMAT_16B;
  hi2s3.Init.MCLKOutput = I2S_MCLKOUTPUT_ENABLE;
  hi2s3.Init.AudioFreq = I2S_AUDIOFREQ_96K;
  hi2s3.Init.CPOL = I2S_CPOL_LOW;
  hi2s3.Init.ClockSource = I2S_CLOCK_PLL;
  hi2s3.Init.FullDuplexMode = I2S_FULLDUPLEXMODE_DISABLE;
  if (HAL_I2S_Init(&hi2s3) != HAL_OK)
  {
    _Error_Handler(__FILE__, __LINE__);
  }

}

/* SPI1 init function */
static void MX_SPI1_Init(void)
{

  /* SPI1 parameter configuration*/
  hspi1.Instance = SPI1;
  hspi1.Init.Mode = SPI_MODE_MASTER;
  hspi1.Init.Direction = SPI_DIRECTION_2LINES;
  hspi1.Init.DataSize = SPI_DATASIZE_8BIT;
  hspi1.Init.CLKPolarity = SPI_POLARITY_LOW;
  hspi1.Init.CLKPhase = SPI_PHASE_1EDGE;
  hspi1.Init.NSS = SPI_NSS_SOFT;
  hspi1.Init.BaudRatePrescaler = SPI_BAUDRATEPRESCALER_2;
  hspi1.Init.FirstBit = SPI_FIRSTBIT_MSB;
  hspi1.Init.TIMode = SPI_TIMODE_DISABLE;
  hspi1.Init.CRCCalculation = SPI_CRCCALCULATION_DISABLE;
  hspi1.Init.CRCPolynomial = 10;
  if (HAL_SPI_Init(&hspi1) != HAL_OK)
  {
    _Error_Handler(__FILE__, __LINE__);
  }

}

/* SPI2 init function */
static void MX_SPI2_Init(void)
{

  /* SPI2 parameter configuration*/
  hspi2.Instance = SPI2;
  hspi2.Init.Mode = SPI_MODE_MASTER;
  hspi2.Init.Direction = SPI_DIRECTION_2LINES;
  hspi2.Init.DataSize = SPI_DATASIZE_16BIT;
  hspi2.Init.CLKPolarity = SPI_POLARITY_LOW;
  hspi2.Init.CLKPhase = SPI_PHASE_1EDGE;
  hspi2.Init.NSS = SPI_NSS_HARD_OUTPUT;
  hspi2.Init.BaudRatePrescaler = SPI_BAUDRATEPRESCALER_2;
  hspi2.Init.FirstBit = SPI_FIRSTBIT_MSB;
  hspi2.Init.TIMode = SPI_TIMODE_DISABLE;
  hspi2.Init.CRCCalculation = SPI_CRCCALCULATION_DISABLE;
  hspi2.Init.CRCPolynomial = 10;
  if (HAL_SPI_Init(&hspi2) != HAL_OK)
  {
    _Error_Handler(__FILE__, __LINE__);
  }

}

/* TIM4 init function */
static void MX_TIM4_Init(void)
{

  TIM_MasterConfigTypeDef sMasterConfig;
  TIM_OC_InitTypeDef sConfigOC;

  htim4.Instance = TIM4;
  htim4.Init.Prescaler = 2-1;
  htim4.Init.CounterMode = TIM_COUNTERMODE_UP;
  htim4.Init.Period = 1000-1;
  htim4.Init.ClockDivision = TIM_CLOCKDIVISION_DIV1;
  if (HAL_TIM_PWM_Init(&htim4) != HAL_OK)
  {
    _Error_Handler(__FILE__, __LINE__);
  }

  sMasterConfig.MasterOutputTrigger = TIM_TRGO_RESET;
  sMasterConfig.MasterSlaveMode = TIM_MASTERSLAVEMODE_DISABLE;
  if (HAL_TIMEx_MasterConfigSynchronization(&htim4, &sMasterConfig) != HAL_OK)
  {
    _Error_Handler(__FILE__, __LINE__);
  }

  sConfigOC.OCMode = TIM_OCMODE_PWM1;
  sConfigOC.Pulse = 0;
  sConfigOC.OCPolarity = TIM_OCPOLARITY_HIGH;
  sConfigOC.OCFastMode = TIM_OCFAST_DISABLE;
  if (HAL_TIM_PWM_ConfigChannel(&htim4, &sConfigOC, TIM_CHANNEL_1) != HAL_OK)
  {
    _Error_Handler(__FILE__, __LINE__);
  }

  if (HAL_TIM_PWM_ConfigChannel(&htim4, &sConfigOC, TIM_CHANNEL_2) != HAL_OK)
  {
    _Error_Handler(__FILE__, __LINE__);
  }

  if (HAL_TIM_PWM_ConfigChannel(&htim4, &sConfigOC, TIM_CHANNEL_3) != HAL_OK)
  {
    _Error_Handler(__FILE__, __LINE__);
  }

  HAL_TIM_MspPostInit(&htim4);

}

/* TIM7 init function */
static void MX_TIM7_Init(void)
{

  TIM_MasterConfigTypeDef sMasterConfig;

  htim7.Instance = TIM7;
  htim7.Init.Prescaler = 8400-1;
  htim7.Init.CounterMode = TIM_COUNTERMODE_UP;
  htim7.Init.Period = 5000-1;
  if (HAL_TIM_Base_Init(&htim7) != HAL_OK)
  {
    _Error_Handler(__FILE__, __LINE__);
  }

  sMasterConfig.MasterOutputTrigger = TIM_TRGO_RESET;
  sMasterConfig.MasterSlaveMode = TIM_MASTERSLAVEMODE_DISABLE;
  if (HAL_TIMEx_MasterConfigSynchronization(&htim7, &sMasterConfig) != HAL_OK)
  {
    _Error_Handler(__FILE__, __LINE__);
  }

}

/* TIM10 init function */
static void MX_TIM10_Init(void)
{

  htim10.Instance = TIM10;
  htim10.Init.Prescaler = 2-1;
  htim10.Init.CounterMode = TIM_COUNTERMODE_UP;
  htim10.Init.Period = 1000-1;
  htim10.Init.ClockDivision = TIM_CLOCKDIVISION_DIV1;
  if (HAL_TIM_Base_Init(&htim10) != HAL_OK)
  {
    _Error_Handler(__FILE__, __LINE__);
  }

}

/** Configure pins as
        * Analog
        * Input
        * Output
        * EVENT_OUT
        * EXTI
     PC3   ------> I2S2_SD
     PB10   ------> I2S2_CK
*/
static void MX_GPIO_Init(void)
{

  GPIO_InitTypeDef GPIO_InitStruct;

  /* GPIO Ports Clock Enable */
  __HAL_RCC_GPIOE_CLK_ENABLE();
  __HAL_RCC_GPIOC_CLK_ENABLE();
  __HAL_RCC_GPIOH_CLK_ENABLE();
  __HAL_RCC_GPIOA_CLK_ENABLE();
  __HAL_RCC_GPIOB_CLK_ENABLE();
  __HAL_RCC_GPIOD_CLK_ENABLE();

  /*Configure GPIO pin Output Level */
  HAL_GPIO_WritePin(CS_I2C_SPI_GPIO_Port, CS_I2C_SPI_Pin, GPIO_PIN_RESET);

  /*Configure GPIO pin Output Level */
  HAL_GPIO_WritePin(OTG_FS_PowerSwitchOn_GPIO_Port, OTG_FS_PowerSwitchOn_Pin, GPIO_PIN_SET);

  /*Configure GPIO pin Output Level */
  HAL_GPIO_WritePin(GPIOD, klucz_1_Pin|klucz_2_Pin|klucz_3_Pin|LD6_Pin
                          |Audio_RST_Pin, GPIO_PIN_RESET);

  /*Configure GPIO pin : CS_I2C_SPI_Pin */
  GPIO_InitStruct.Pin = CS_I2C_SPI_Pin;
  GPIO_InitStruct.Mode = GPIO_MODE_OUTPUT_PP;
  GPIO_InitStruct.Pull = GPIO_NOPULL;
  GPIO_InitStruct.Speed = GPIO_SPEED_FREQ_LOW;
  HAL_GPIO_Init(CS_I2C_SPI_GPIO_Port, &GPIO_InitStruct);

  /*Configure GPIO pin : OTG_FS_PowerSwitchOn_Pin */
  GPIO_InitStruct.Pin = OTG_FS_PowerSwitchOn_Pin;
  GPIO_InitStruct.Mode = GPIO_MODE_OUTPUT_PP;
  GPIO_InitStruct.Pull = GPIO_NOPULL;
  GPIO_InitStruct.Speed = GPIO_SPEED_FREQ_LOW;
  HAL_GPIO_Init(OTG_FS_PowerSwitchOn_GPIO_Port, &GPIO_InitStruct);

  /*Configure GPIO pin : PDM_OUT_Pin */
  GPIO_InitStruct.Pin = PDM_OUT_Pin;
  GPIO_InitStruct.Mode = GPIO_MODE_AF_PP;
  GPIO_InitStruct.Pull = GPIO_NOPULL;
  GPIO_InitStruct.Speed = GPIO_SPEED_FREQ_LOW;
  GPIO_InitStruct.Alternate = GPIO_AF5_SPI2;
  HAL_GPIO_Init(PDM_OUT_GPIO_Port, &GPIO_InitStruct);

  /*Configure GPIO pin : B1_Pin */
  GPIO_InitStruct.Pin = B1_Pin;
  GPIO_InitStruct.Mode = GPIO_MODE_EVT_RISING;
  GPIO_InitStruct.Pull = GPIO_NOPULL;
  HAL_GPIO_Init(B1_GPIO_Port, &GPIO_InitStruct);

  /*Configure GPIO pin : BOOT1_Pin */
  GPIO_InitStruct.Pin = BOOT1_Pin;
  GPIO_InitStruct.Mode = GPIO_MODE_INPUT;
  GPIO_InitStruct.Pull = GPIO_NOPULL;
  HAL_GPIO_Init(BOOT1_GPIO_Port, &GPIO_InitStruct);

  /*Configure GPIO pins : HAL_in_1_Pin HAL_in_2_Pin HAL_in_3_Pin */
  GPIO_InitStruct.Pin = HAL_in_1_Pin|HAL_in_2_Pin|HAL_in_3_Pin;
  GPIO_InitStruct.Mode = GPIO_MODE_INPUT;
  GPIO_InitStruct.Pull = GPIO_PULLUP;
  HAL_GPIO_Init(GPIOE, &GPIO_InitStruct);

  /*Configure GPIO pin : CLK_IN_Pin */
  GPIO_InitStruct.Pin = CLK_IN_Pin;
  GPIO_InitStruct.Mode = GPIO_MODE_AF_PP;
  GPIO_InitStruct.Pull = GPIO_NOPULL;
  GPIO_InitStruct.Speed = GPIO_SPEED_FREQ_LOW;
  GPIO_InitStruct.Alternate = GPIO_AF5_SPI2;
  HAL_GPIO_Init(CLK_IN_GPIO_Port, &GPIO_InitStruct);

  /*Configure GPIO pins : klucz_1_Pin klucz_2_Pin klucz_3_Pin LD6_Pin
                           Audio_RST_Pin */
  GPIO_InitStruct.Pin = klucz_1_Pin|klucz_2_Pin|klucz_3_Pin|LD6_Pin
                          |Audio_RST_Pin;
  GPIO_InitStruct.Mode = GPIO_MODE_OUTPUT_PP;
  GPIO_InitStruct.Pull = GPIO_NOPULL;
  GPIO_InitStruct.Speed = GPIO_SPEED_FREQ_LOW;
  HAL_GPIO_Init(GPIOD, &GPIO_InitStruct);

  /*Configure GPIO pin : OTG_FS_OverCurrent_Pin */
  GPIO_InitStruct.Pin = OTG_FS_OverCurrent_Pin;
  GPIO_InitStruct.Mode = GPIO_MODE_INPUT;
  GPIO_InitStruct.Pull = GPIO_NOPULL;
  HAL_GPIO_Init(OTG_FS_OverCurrent_GPIO_Port, &GPIO_InitStruct);

  /*Configure GPIO pin : MEMS_INT2_Pin */
  GPIO_InitStruct.Pin = MEMS_INT2_Pin;
  GPIO_InitStruct.Mode = GPIO_MODE_EVT_RISING;
  GPIO_InitStruct.Pull = GPIO_NOPULL;
  HAL_GPIO_Init(MEMS_INT2_GPIO_Port, &GPIO_InitStruct);

}

void _Error_Handler(char *file, int line)
{
  while(1)
  {
  }
}

/************************ (C) COPYRIGHT STMicroelectronics *****END OF FILE****/
